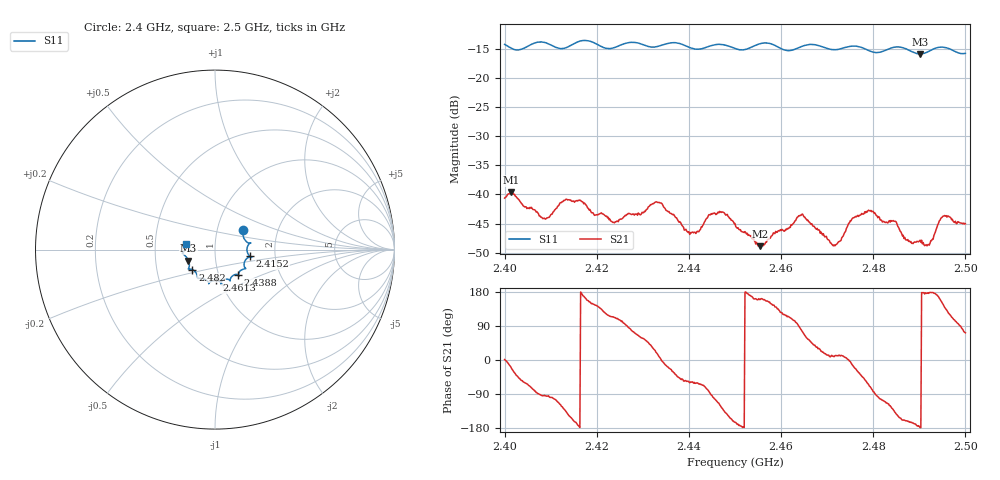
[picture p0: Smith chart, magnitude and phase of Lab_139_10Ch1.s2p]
# Hz S RI R 50
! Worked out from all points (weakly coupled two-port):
!   601 points, 2.4 GHz to 2.5 GHz, reference 50 ohm
!   highest |S21| = -39.62 dB at 2.4013 GHz (marker M1); lowest = -48.9 dB at 2.4555 GHz (marker M2)
!   lowest |S11| = -15.9 dB at 2.4902 GHz (marker M3), VSWR 1.38, Z = 36.9 - j4.64 ohm
!   |S11| at or under -10 dB: start of sweep to end of sweep
!   S12 and S22 are empty: the file has one direction only
!   S11 on the Smith chart (normalised r, x): 2.4 GHz: 1.33, +0.31; 2.4152 GHz: 1.47, -0.12; 2.4388 GHz: 1.24, -0.36; 2.4613 GHz: 0.96, -0.34; 2.482 GHz: 0.76, -0.17; 2.5 GHz: 0.72, +0.05
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2.4e9  0.1578 0.112  0.0093 0.000206  0 0  0 0
2.401333e9  0.1555 0.0913  0.00994 -0.00321  0 0  0 0
2.408667e9  0.1977 0.0372  -0.000339 -0.00625  0 0  0 0
2.415167e9  0.1935 -0.0376  -0.0082 -0.00252  0 0  0 0
2.416667e9  0.2032 -0.0438  -0.00872 0.000541  0 0  0 0
2.423667e9  0.1617 -0.0808  -0.00226 0.00531  0 0  0 0
2.433333e9  0.1324 -0.1314  0.00834 0.00183  0 0  0 0
2.438833e9  0.1298 -0.1409  0.00297 -0.0043  0 0  0 0
2.446833e9  0.0844 -0.1741  -0.00366 -0.00607  0 0  0 0
2.45e9  0.069 -0.1647  -0.00543 -0.00152  0 0  0 0
2.4555e9  0.0353 -0.1932  -0.00338 0.00125  0 0  0 0
2.461333e9  0.00771 -0.171  -0.00207 0.00467  0 0  0 0
2.464333e9  -0.0298 -0.1824  0.00118 0.00651  0 0  0 0
2.466667e9  -0.0348 -0.1903  0.004 0.00395  0 0  0 0
2.4715e9  -0.06 -0.1635  0.00365 0.000556  0 0  0 0
2.476167e9  -0.096 -0.1602  0.00597 -0.00252  0 0  0 0
2.482e9  -0.126 -0.1113  -0.00158 -0.00558  0 0  0 0
2.483333e9  -0.1396 -0.1085  -0.00256 -0.00526  0 0  0 0
2.490167e9  -0.1479 -0.0614  -0.00405 -0.000116  0 0  0 0
2.492167e9  -0.1662 -0.0342  -0.00368 0.000153  0 0  0 0
2.495333e9  -0.1816 -0.0192  -0.00522 0.00394  0 0  0 0
2.5e9  -0.1589 0.0323  0.00177 0.00533  0 0  0 0
